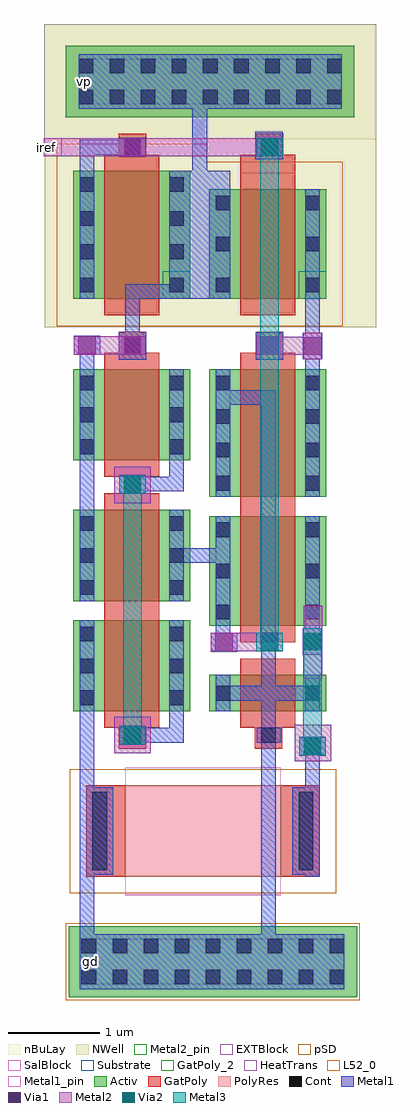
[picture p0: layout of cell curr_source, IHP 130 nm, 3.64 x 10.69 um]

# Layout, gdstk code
from math import pi, radians
import gdstk
lib = gdstk.Library(unit=1e-6, precision=1e-09)
def R(c, l, rs):  # rectangles x0, y0, x1, y1
    for r in rs: c.add(gdstk.rectangle(r[:2], r[2:], *l))
def A(c, l, x, y, w, h, nx, ny, dx, dy):  # array of equal rectangles
    R(c, l, [(x+i*dx, y+j*dy, x+i*dx+w, y+j*dy+h) for i in range(nx) for j in range(ny)])
Activ = (1, 0)
GatPoly = (5, 0)
GatPoly_2 = (5, 2)
Cont = (6, 0)
Metal1 = (8, 0)
Metal1_pin = (8, 2)
Metal2 = (10, 0)
Metal2_pin = (10, 2)
pSD = (14, 0)
Via1 = (19, 0)
SalBlock = (28, 0)
Via2 = (29, 0)
Metal3 = (30, 0)
NWell = (31, 0)
nBuLay = (32, 0)
Substrate = (40, 0)
HeatTrans = (51, 0)
L52_0 = (52, 0)
EXTBlock = (111, 0)
PolyRes = (128, 0)

rppd_1 = lib.new_cell('rppd$1')
R(rppd_1, GatPoly, [(0,-0.43,1,-0.2), (0,-0.2,1,0), (0,1.7,1,1.9), (0,1.9,1,2.13)])
R(rppd_1, Cont, [(0.07,-0.36,0.93,-0.2), (0.07,1.9,0.93,2.06)])
R(rppd_1, Metal1, [(0.02,-0.43,0.98,-0.13), (0.02,1.83,0.98,2.13)])
R(rppd_1, Metal1_pin, [(0.02,-0.43,0.98,-0.13), (0.02,1.83,0.98,2.13)])
R(rppd_1, pSD, [(-0.18,-0.61,1.18,0), (-0.18,0,1.18,1.7), (-0.18,1.7,1.18,2.31)])
R(rppd_1, SalBlock, [(-0.2,0,1.2,1.7)])
R(rppd_1, L52_0, [(0,0,1,1.7)])
R(rppd_1, EXTBlock, [(-0.18,-0.61,1.18,0), (-0.2,0,1.2,1.7), (-0.18,1.7,1.18,2.31)])
R(rppd_1, PolyRes, [(0,0,1,1.7)])
rppd_1.add(gdstk.Label('rppd r=509.364', (0.5,0.85), layer=63, texttype=0))
rppd_1.add(gdstk.Label('rppd', (0.5,0.85), layer=52, texttype=0))

via_13 = lib.new_cell('Via$13')
R(via_13, Metal1, [(-0.145,-0.105,0.145,0.105)])
R(via_13, Metal2, [(-0.145,-0.1,0.145,0.1)])
R(via_13, Via1, [(-0.095,-0.095,0.095,0.095)])

via_5 = lib.new_cell('Via$5')
R(via_5, Metal2, [(-0.145,-0.1,0.145,0.1)])
R(via_5, Via2, [(-0.095,-0.095,0.095,0.095)])
R(via_5, Metal3, [(-0.145,-0.1,0.145,0.1)])

via_1 = lib.new_cell('Via$1')
R(via_1, GatPoly, [(-0.15,-0.15,0.15,0.15)])
R(via_1, Cont, [(-0.08,-0.08,0.08,0.08)])
R(via_1, Metal1, [(-0.13,-0.08,0.13,0.08)])

nmos_1 = lib.new_cell('nmos$1')
R(nmos_1, Activ, [(0,0,1.28,1), (0,0,0.3,0.3), (0.98,0,1.28,0.3)])
R(nmos_1, GatPoly, [(0.34,-0.18,0.94,1.18)])
R(nmos_1, GatPoly_2, [(0.34,-0.18,0.94,1.18)])
A(nmos_1, Cont, 0.07, 0.07, 0.16, 0.16, 1, 3, 0, 0.35)
A(nmos_1, Cont, 1.05, 0.07, 0.16, 0.16, 1, 3, 0, 0.35)
R(nmos_1, Metal1, [(0.07,0,0.23,1), (1.05,0,1.21,1)])
R(nmos_1, Metal1_pin, [(0.07,0,0.23,1), (1.05,0,1.21,1)])
R(nmos_1, HeatTrans, [(0.34,-0.18,0.94,1.18)])
nmos_1.add(gdstk.Label('nmos', (0.64,0.5), layer=63, texttype=0))
nmos_1.add(gdstk.Label('nmos', (0.64,0.5), layer=51, texttype=0))

nmos_2 = lib.new_cell('nmos$2')
R(nmos_2, Activ, [(0,0,1.28,1.4), (0,0,0.3,0.3), (0.98,0,1.28,0.3)])
R(nmos_2, GatPoly, [(0.34,-0.18,0.94,1.58)])
R(nmos_2, GatPoly_2, [(0.34,-0.18,0.94,1.58)])
A(nmos_2, Cont, 0.07, 0.07, 0.16, 0.16, 1, 3, 0, 0.365)
A(nmos_2, Cont, 1.05, 0.07, 0.16, 0.16, 1, 3, 0, 0.365)
R(nmos_2, Cont, [(0.07,1.17,0.23,1.33), (1.05,1.17,1.21,1.33)])
R(nmos_2, Metal1, [(0.07,0,0.23,1.4), (1.05,0,1.21,1.4)])
R(nmos_2, Metal1_pin, [(0.07,0,0.23,1.4), (1.05,0,1.21,1.4)])
R(nmos_2, HeatTrans, [(0.34,-0.18,0.94,1.58)])
nmos_2.add(gdstk.Label('nmos', (0.64,0.7), layer=63, texttype=0))
nmos_2.add(gdstk.Label('nmos', (0.64,0.7), layer=51, texttype=0))

ptap = lib.new_cell('ptap')
R(ptap, Activ, [(-0.425,-1.215,0.355,-0.435)])
R(ptap, Cont, [(-0.285,-1.075,-0.125,-0.915), (0.055,-1.075,0.215,-0.915), (-0.285,-0.735,-0.125,-0.575), (0.055,-0.735,0.215,-0.575)])
R(ptap, Metal1, [(-0.285,-1.125,0.215,-0.525)])
R(ptap, Metal1_pin, [(-0.285,-1.075,0.215,-0.575)])
R(ptap, pSD, [(-0.455,-1.245,0.385,-0.405)])

via_10 = lib.new_cell('Via$10')
R(via_10, Metal1, [(-0.145,-0.105,0.145,0.105)])
R(via_10, Metal2, [(-0.145,-0.1,0.145,0.1)])
R(via_10, Via1, [(-0.095,-0.095,0.095,0.095)])

via_4 = lib.new_cell('Via$4')
R(via_4, Metal1, [(-0.145,-0.105,0.145,0.105)])
R(via_4, Metal2, [(-0.145,-0.1,0.145,0.1)])
R(via_4, Via1, [(-0.095,-0.095,0.095,0.095)])

via_7 = lib.new_cell('Via$7')
R(via_7, Metal1, [(-0.145,-0.105,0.145,0.105)])
R(via_7, Metal2, [(-0.145,-0.1,0.145,0.1)])
R(via_7, Via1, [(-0.095,-0.095,0.095,0.095)])

via_3 = lib.new_cell('Via$3')
R(via_3, Metal1, [(-0.145,-0.105,0.145,0.105)])
R(via_3, Metal2, [(-0.145,-0.1,0.145,0.1)])
R(via_3, Via1, [(-0.095,-0.095,0.095,0.095)])

nmos = lib.new_cell('nmos')
R(nmos, Activ, [(0,0,1.28,1.2), (0,0,0.3,0.3), (0.98,0,1.28,0.3)])
R(nmos, GatPoly, [(0.34,-0.18,0.94,1.38)])
R(nmos, GatPoly_2, [(0.34,-0.18,0.94,1.38)])
A(nmos, Cont, 0.07, 0.07, 0.16, 0.16, 1, 3, 0, 0.45)
A(nmos, Cont, 1.05, 0.07, 0.16, 0.16, 1, 3, 0, 0.45)
R(nmos, Metal1, [(0.07,0,0.23,1.2), (1.05,0,1.21,1.2)])
R(nmos, Metal1_pin, [(0.07,0,0.23,1.2), (1.05,0,1.21,1.2)])
R(nmos, HeatTrans, [(0.34,-0.18,0.94,1.38)])
nmos.add(gdstk.Label('nmos', (0.64,0.6), layer=63, texttype=0))
nmos.add(gdstk.Label('nmos', (0.64,0.6), layer=51, texttype=0))

via = lib.new_cell('Via')
R(via, Metal1, [(-0.145,-0.105,0.145,0.105)])
R(via, Metal2, [(-0.145,-0.1,0.145,0.1)])
R(via, Via1, [(-0.095,-0.095,0.095,0.095)])

via_8 = lib.new_cell('Via$8')
R(via_8, Metal1, [(-0.145,-0.105,0.145,0.105)])
R(via_8, Metal2, [(-0.145,-0.1,0.145,0.1)])
R(via_8, Via1, [(-0.095,-0.095,0.095,0.095)])

pmos_1 = lib.new_cell('pmos$1')
R(pmos_1, Activ, [(0,0,1.28,1.4), (0,0,0.3,0.3), (0.98,0,1.28,0.3)])
R(pmos_1, GatPoly, [(0.34,-0.18,0.94,1.58), (0.34,-0.18,0.94,1.58)])
A(pmos_1, Cont, 0.07, 0.07, 0.16, 0.16, 1, 3, 0, 0.365)
A(pmos_1, Cont, 1.05, 0.07, 0.16, 0.16, 1, 3, 0, 0.365)
R(pmos_1, Cont, [(0.07,1.17,0.23,1.33), (1.05,1.17,1.21,1.33)])
R(pmos_1, Metal1, [(0.07,0,0.23,1.4), (0.07,0,0.23,1.4), (1.05,0,1.21,1.4), (1.05,0,1.21,1.4)])
R(pmos_1, pSD, [(-0.18,-0.3,1.46,1.7)])
R(pmos_1, NWell, [(-0.31,-0.31,1.59,1.71)])
R(pmos_1, Substrate, [(0.98,0,1.28,0.3)])
R(pmos_1, HeatTrans, [(0.34,-0.18,0.94,1.58)])
pmos_1.add(gdstk.Label('pmos', (0.64,0.7), layer=63, texttype=0))
pmos_1.add(gdstk.Label('pmos', (0.64,0.7), layer=51, texttype=0))

pmos = lib.new_cell('pmos')
R(pmos, Activ, [(0,0,1.28,1.2), (0,0,0.3,0.3), (0.98,0,1.28,0.3)])
R(pmos, GatPoly, [(0.34,-0.18,0.94,1.38), (0.34,-0.18,0.94,1.38)])
A(pmos, Cont, 0.07, 0.07, 0.16, 0.16, 1, 3, 0, 0.45)
A(pmos, Cont, 1.05, 0.07, 0.16, 0.16, 1, 3, 0, 0.45)
R(pmos, Metal1, [(0.07,0,0.23,1.2), (0.07,0,0.23,1.2), (1.05,0,1.21,1.2), (1.05,0,1.21,1.2)])
R(pmos, pSD, [(-0.18,-0.3,1.46,1.5)])
R(pmos, NWell, [(-0.31,-0.31,1.59,1.51)])
R(pmos, Substrate, [(0.98,0,1.28,0.3)])
R(pmos, HeatTrans, [(0.34,-0.18,0.94,1.38)])
pmos.add(gdstk.Label('pmos', (0.64,0.6), layer=63, texttype=0))
pmos.add(gdstk.Label('pmos', (0.64,0.6), layer=51, texttype=0))

ntap = lib.new_cell('ntap')
R(ntap, Activ, [(-0.09,-0.315,0.69,0.465)])
R(ntap, Cont, [(0.05,-0.175,0.21,-0.015), (0.39,-0.175,0.55,-0.015), (0.05,0.165,0.21,0.325), (0.39,0.165,0.55,0.325)])
R(ntap, Metal1, [(0.05,-0.225,0.55,0.375)])
R(ntap, Metal1_pin, [(0.05,-0.175,0.55,0.325)])
R(ntap, NWell, [(-0.33,-0.555,0.93,0.705)])
R(ntap, nBuLay, [(-0.33,-0.555,0.93,0.705)])

via_6 = lib.new_cell('Via$6')
R(via_6, Metal1, [(-0.145,-0.105,0.145,0.105)])
R(via_6, Metal2, [(-0.145,-0.1,0.145,0.1)])
R(via_6, Via1, [(-0.095,-0.095,0.095,0.095)])

nmos_3 = lib.new_cell('nmos$3')
R(nmos_3, Activ, [(0,0,1.28,0.4), (0,0,0.3,0.3), (0.98,0,1.28,0.3)])
R(nmos_3, GatPoly, [(0.34,-0.18,0.94,0.58)])
R(nmos_3, GatPoly_2, [(0.34,-0.18,0.94,0.58)])
R(nmos_3, Cont, [(0.07,0.12,0.23,0.28), (1.05,0.12,1.21,0.28)])
R(nmos_3, Metal1, [(0.07,0,0.23,0.4), (1.05,0,1.21,0.4)])
R(nmos_3, Metal1_pin, [(0.07,0,0.23,0.4), (1.05,0,1.21,0.4)])
R(nmos_3, HeatTrans, [(0.34,-0.18,0.94,0.58)])
nmos_3.add(gdstk.Label('nmos', (0.64,0.2), layer=63, texttype=0))
nmos_3.add(gdstk.Label('nmos', (0.64,0.2), layer=51, texttype=0))

via_9 = lib.new_cell('Via$9')
R(via_9, Metal1, [(-0.145,-0.105,0.145,0.105)])
R(via_9, Metal2, [(-0.145,-0.1,0.145,0.1)])
R(via_9, Via1, [(-0.095,-0.095,0.095,0.095)])

via_2 = lib.new_cell('Via$2')
R(via_2, Metal2, [(-0.145,-0.1,0.145,0.1)])
R(via_2, Via2, [(-0.095,-0.095,0.095,0.095)])
R(via_2, Metal3, [(-0.145,-0.1,0.145,0.1)])

curr_source = lib.new_cell('curr_source')
R(curr_source, GatPoly, [(3.695,6.615,4.295,6.815)])
R(curr_source, Metal1, [(1.935,-2.325,2.095,-1.725), (2.365,4.57,2.665,4.87), (3.865,4.57,4.165,4.87), (2.915,5.235,3.585,6.635), (3.86,6.765,4.16,7.065)])
R(curr_source, Metal1_pin, [(1.955,-2.125,2.155,-1.925), (1.925,7.545,2.055,7.675)])
R(curr_source, Metal2, [(4.29,0.17,4.69,0.57), (2.315,0.255,2.715,0.655), (4.39,1.075,4.59,1.875), (2.315,2.995,2.715,3.395)])
R(curr_source, Metal2_pin, [(1.54,6.795,1.74,6.995)])
R(curr_source, NWell, [(1.555,4.925,5.185,8.245)])
curr_source.add(gdstk.FlexPath([(4.015,6.895),(4.015,6.895)], 0.16, ends="flush", simple_path=True, layer=10, datatype=0))  # Metal2
curr_source.add(gdstk.FlexPath([(3.695,1.475),(3.515,1.475)], 0.16, ends="flush", simple_path=True, layer=10, datatype=0))  # Metal2
curr_source.add(gdstk.FlexPath([(4.015,4.72),(4.485,4.72)], 0.2, ends="flush", simple_path=True, layer=10, datatype=0))  # Metal2
curr_source.add(gdstk.FlexPath([(2.515,4.725),(1.87,4.725)], 0.2, ends="flush", simple_path=True, layer=10, datatype=0))  # Metal2
curr_source.add(gdstk.FlexPath([(2.515,6.895),(4.015,6.895)], 0.2, ends="flush", simple_path=True, layer=10, datatype=0))  # Metal2
curr_source.add(gdstk.FlexPath([(2.515,6.895),(1.54,6.895)], 0.2, ends="flush", simple_path=True, layer=10, datatype=0))  # Metal2
curr_source.add(gdstk.FlexPath([(4.015,1.475),(3.65,1.475)], 0.2, ends="flush", simple_path=True, layer=10, datatype=0))  # Metal2
curr_source.add(gdstk.FlexPath([(4.485,0.335),(4.485,0.335)], 0.2, ends="flush", simple_path=True, layer=10, datatype=0))  # Metal2
curr_source.add(gdstk.FlexPath([(2.515,0.455),(2.515,0.455)], 0.2, ends="flush", simple_path=True, layer=10, datatype=0))  # Metal2
curr_source.add(gdstk.FlexPath([(4.485,1.48),(4.485,1.48)], 0.2, ends="flush", simple_path=True, layer=10, datatype=0))  # Metal2
curr_source.add(gdstk.FlexPath([(2.515,3.205),(2.515,3.205)], 0.2, ends="flush", simple_path=True, layer=10, datatype=0))  # Metal2
curr_source.add(gdstk.FlexPath([(4.015,6.895),(4.015,1.58)], 0.2, ends="flush", simple_path=True, layer=30, datatype=0))  # Metal3
curr_source.add(gdstk.FlexPath([(2.515,3.14),(2.515,3.205)], 0.2, ends="flush", simple_path=True, layer=30, datatype=0))  # Metal3
curr_source.add(gdstk.FlexPath([(2.515,0.455),(2.515,2.99)], 0.2, ends="flush", simple_path=True, layer=30, datatype=0))  # Metal3
curr_source.add(gdstk.FlexPath([(4.015,1.58),(4.015,1.475)], 0.2, ends="flush", simple_path=True, layer=30, datatype=0))  # Metal3
curr_source.add(gdstk.FlexPath([(2.515,2.96),(2.515,3.18)], 0.2, ends="flush", simple_path=True, layer=30, datatype=0))  # Metal3
curr_source.add(gdstk.FlexPath([(4.485,1.48),(4.485,0.335)], 0.2, ends="flush", simple_path=True, layer=30, datatype=0))  # Metal3
curr_source.add(gdstk.FlexPath([(3.505,1.655),(3.505,1.575)], 0.16, ends="flush", simple_path=True, layer=8, datatype=0))  # Metal1
curr_source.add(gdstk.FlexPath([(2.915,5.315),(2.435,5.315)], 0.16, ends="flush", simple_path=True, layer=8, datatype=0))  # Metal1
curr_source.add(gdstk.FlexPath([(2.995,3.34),(2.995,3.125)], 0.16, ends="flush", simple_path=True, layer=8, datatype=0))  # Metal1
curr_source.add(gdstk.FlexPath([(2.015,0.715),(2.015,-1.725),(2.015,-1.725)], 0.16, ends="flush", simple_path=True, layer=8, datatype=0))  # Metal1
curr_source.add(gdstk.FlexPath([(3.575,4.155),(4.005,4.155),(4.005,-0.965)], 0.16, ends="flush", simple_path=True, layer=8, datatype=0))  # Metal1
curr_source.add(gdstk.FlexPath([(2.515,4.805),(2.515,5.2)], 0.16, ends="flush", simple_path=True, layer=8, datatype=0))  # Metal1
curr_source.add(gdstk.FlexPath([(3.075,2.425),(3.425,2.425)], 0.16, ends="flush", simple_path=True, layer=8, datatype=0))  # Metal1
curr_source.add(gdstk.FlexPath([(4.485,4.49),(4.485,4.465)], 0.16, ends="flush", simple_path=True, layer=8, datatype=0))  # Metal1
curr_source.add(gdstk.FlexPath([(4.485,5.235),(4.485,4.48)], 0.16, ends="flush", simple_path=True, layer=8, datatype=0))  # Metal1
curr_source.add(gdstk.FlexPath([(2.515,5.15),(2.515,5.395)], 0.16, ends="flush", simple_path=True, layer=8, datatype=0))  # Metal1
curr_source.add(gdstk.FlexPath([(2.365,6.895),(2.515,6.895)], 0.16, ends="flush", simple_path=True, layer=8, datatype=0))  # Metal1
curr_source.add(gdstk.FlexPath([(2.015,6.635),(2.015,6.885),(2.015,6.89),(2.015,6.895),(2.385,6.895),(2.385,6.895),(2.385,6.895)], 0.16, ends="flush", simple_path=True, layer=8, datatype=0))  # Metal1
curr_source.add(gdstk.FlexPath([(4.485,1.655),(4.485,1.48)], 0.16, ends="flush", simple_path=True, layer=8, datatype=0))  # Metal1
curr_source.add(gdstk.FlexPath([(4.485,0.335),(4.485,-1.095)], 0.16, ends="flush", simple_path=True, layer=8, datatype=0))  # Metal1
curr_source.add(gdstk.FlexPath([(3.995,0.915),(3.585,0.915),(3.585,0.915)], 0.16, ends="flush", simple_path=True, layer=8, datatype=0))  # Metal1
curr_source.add(gdstk.FlexPath([(3.995,0.915),(4.405,0.915)], 0.16, ends="flush", simple_path=True, layer=8, datatype=0))  # Metal1
curr_source.add(gdstk.FlexPath([(2.995,3.465),(2.995,3.285)], 0.16, ends="flush", simple_path=True, layer=8, datatype=0))  # Metal1
curr_source.add(gdstk.FlexPath([(2.515,3.205),(3.075,3.205)], 0.16, ends="flush", simple_path=True, layer=8, datatype=0))  # Metal1
curr_source.add(gdstk.FlexPath([(3.25,6.635),(3.25,7.315)], 0.16, ends="flush", simple_path=True, layer=8, datatype=0))  # Metal1
curr_source.add(gdstk.FlexPath([(2.015,2.925),(2.015,3.465)], 0.16, ends="flush", simple_path=True, layer=8, datatype=0))  # Metal1
curr_source.add(gdstk.FlexPath([(4.005,-0.815),(4.005,-1.775)], 0.16, ends="flush", simple_path=True, layer=8, datatype=0))  # Metal1
curr_source.add(gdstk.FlexPath([(2.015,4.465),(2.015,4.62)], 0.16, ends="flush", simple_path=True, layer=8, datatype=0))  # Metal1
curr_source.add(gdstk.FlexPath([(2.645,0.455),(3.075,0.455)], 0.16, ends="flush", simple_path=True, layer=8, datatype=0))  # Metal1
curr_source.add(gdstk.FlexPath([(2.995,0.715),(2.995,0.375)], 0.16, ends="flush", simple_path=True, layer=8, datatype=0))  # Metal1
curr_source.add(gdstk.FlexPath([(2.515,0.455),(2.515,0.455)], 0.16, ends="flush", simple_path=True, layer=8, datatype=0))  # Metal1
curr_source.add(gdstk.FlexPath([(4.485,4.72),(4.485,4.72)], 0.16, ends="flush", simple_path=True, layer=8, datatype=0))  # Metal1
curr_source.add(gdstk.FlexPath([(2.515,4.725),(2.515,4.725)], 0.16, ends="flush", simple_path=True, layer=8, datatype=0))  # Metal1
curr_source.add(gdstk.FlexPath([(4.015,6.895),(4.015,6.895)], 0.16, ends="flush", simple_path=True, layer=8, datatype=0))  # Metal1
curr_source.add(gdstk.Reference(rppd_1, (2.435,-0.095), rotation=3*pi/2))
curr_source.add(gdstk.Reference(via_13, (4.485,0.335)))
curr_source.add(gdstk.Reference(via_5, (4.485,1.48), rotation=3*pi/2))
curr_source.add(gdstk.Reference(via_1, (2.515,0.455)))
curr_source.add(gdstk.Reference(via_1, (4.005,0.455)))
curr_source.add(gdstk.Reference(via_1, (2.515,4.725)))
curr_source.add(gdstk.Reference(via_1, (4.015,4.725)))
curr_source.add(gdstk.Reference(via_1, (2.515,6.895)))
curr_source.add(gdstk.Reference(via_1, (4.015,6.895)))
curr_source.add(gdstk.Reference(nmos_1, (1.865,0.715)))
curr_source.add(gdstk.Reference(nmos_1, (1.865,1.925)))
curr_source.add(gdstk.Reference(nmos_1, (1.865,3.465)))
curr_source.add(gdstk.Reference(nmos_2, (3.355,3.065)))
curr_source.add(gdstk.Reference(ptap, (2.24,-1.2)))
curr_source.add(gdstk.Reference(ptap, (2.58,-1.2)))
curr_source.add(gdstk.Reference(ptap, (2.92,-1.2)))
curr_source.add(gdstk.Reference(ptap, (3.26,-1.2)))
curr_source.add(gdstk.Reference(ptap, (3.6,-1.2)))
curr_source.add(gdstk.Reference(ptap, (3.94,-1.2)))
curr_source.add(gdstk.Reference(ptap, (4.28,-1.2)))
curr_source.add(gdstk.Reference(ptap, (4.62,-1.2)))
curr_source.add(gdstk.Reference(via_5, (4.485,0.335)))
curr_source.add(gdstk.Reference(via_5, (2.515,0.455)))
curr_source.add(gdstk.Reference(via_5, (2.515,3.205)))
curr_source.add(gdstk.Reference(via_5, (4.015,6.895)))
curr_source.add(gdstk.Reference(via_10, (2.515,0.455)))
curr_source.add(gdstk.Reference(via_4, (3.515,1.475)))
curr_source.add(gdstk.Reference(via_7, (4.485,4.72), rotation=3*pi/2))
curr_source.add(gdstk.Reference(via_3, (4.015,6.895)))
curr_source.add(gdstk.Reference(nmos, (3.355,1.655)))
curr_source.add(gdstk.Reference(via, (2.515,6.895)))
curr_source.add(gdstk.Reference(via_7, (2.515,4.725)))
curr_source.add(gdstk.Reference(via_8, (2.515,3.205)))
curr_source.add(gdstk.Reference(pmos_1, (1.865,5.235)))
curr_source.add(gdstk.Reference(via_13, (4.485,1.48), rotation=3*pi/2))
curr_source.add(gdstk.Reference(pmos, (3.355,5.235)))
curr_source.add(gdstk.Reference(ntap, (1.875,7.54)))
curr_source.add(gdstk.Reference(ntap, (2.215,7.54)))
curr_source.add(gdstk.Reference(ntap, (2.555,7.54)))
curr_source.add(gdstk.Reference(ntap, (2.895,7.54)))
curr_source.add(gdstk.Reference(ntap, (3.235,7.54)))
curr_source.add(gdstk.Reference(ntap, (3.575,7.54)))
curr_source.add(gdstk.Reference(ntap, (3.915,7.54)))
curr_source.add(gdstk.Reference(ntap, (4.255,7.54)))
curr_source.add(gdstk.Reference(via_6, (2.015,4.725)))
curr_source.add(gdstk.Reference(nmos_3, (3.355,0.715)))
curr_source.add(gdstk.Reference(via_9, (4.015,4.72)))
curr_source.add(gdstk.Reference(via_2, (4.015,1.475)))
curr_source.add(gdstk.Label('vp', (1.99,7.61), layer=8, texttype=25))
curr_source.add(gdstk.Label('gd', (2.055,-2.025), layer=8, texttype=25))
curr_source.add(gdstk.Label('iref', (1.567,6.897), layer=10, texttype=25))

lib.write_gds('curr_source.gds')
